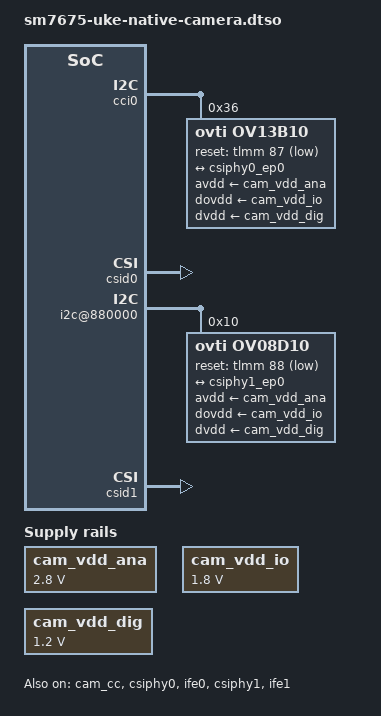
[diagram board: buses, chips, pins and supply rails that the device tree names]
// SPDX-License-Identifier: GPL-2.0-only OR BSD-2-Clause
/dts-v1/;
/plugin/;
#include <dt-bindings/clock/qcom,gcc-cliffs.h>
#include <dt-bindings/clock/qcom,sm7675-camcc.h>
#include <dt-bindings/gpio/gpio.h>

/* Native camera sensor graph for Xiaomi Pad 7 (uke, SM7675).
 * Rear: OV13B10 on CSI0 (CCI0, CSIPHY0, CSID0, IFE0)
 * Front: OV08D10 on QUP1 SE8 I2C (separate I2C bus, not CCI)
 *
 * Firmware and calibration remain private. Physical capture validation required.
 */

/ {
    /* Enable CAMCC controller */
    fragment@500 {
        target = <&cam_cc>;
        __overlay__ {
            status = "okay";
        };
    };

    /* Enable CCI0 for rear camera */
    fragment@501 {
        target = <&cci0>;
        __overlay__ {
            status = "okay";
            clocks = <&cam_cc CAM_CC_CCI_0_CLK>,
                     <&cam_cc CAM_CC_CCI_0_CLK_SRC>;
            clock-names = "cci", "cci_src";
        };
    };

    /* Enable CSIPHY0 for rear camera */
    fragment@502 {
        target = <&csiphy0>;
        __overlay__ {
            status = "okay";
            clocks = <&cam_cc CAM_CC_CSIPHY0_CLK>;
            clock-names = "csiphy";
        };
    };

    /* CSIPHY0 endpoint for rear camera */
    fragment@503 {
        target = <&csiphy0>;
        __overlay__ {
            #address-cells = <1>;
            #size-cells = <0>;
            port@0 {
                csiphy0_ep0: endpoint {
                    remote-endpoint = <&ov13b10_ep>;
                    data-lanes = <1 2 3 4>;
                    link-frequencies = /bits/ 64 <560000000>;
                };
            };
        };
    };

    /* Enable CSID0 for rear camera */
    fragment@504 {
        target = <&csid0>;
        __overlay__ {
            status = "okay";
            clocks = <&cam_cc CAM_CC_CSID_CLK>, <&cam_cc CAM_CC_CPHY_RX_CLK_SRC>;
            clock-names = "csid", "csiphy_rx";
        };
    };

    /* Enable IFE0 for rear camera (OEM: ife0@ac62000) */
    fragment@505 {
        target = <&ife0>;
        __overlay__ {
            status = "okay";
            clocks = <&gcc GCC_CAM_AXI_HF_CLK>, <&cam_cc CAM_CC_CPAS_AHB_CLK>,
                     <&cam_cc CAM_CC_CPAS_FAST_AHB_CLK>, <&cam_cc CAM_CC_CAMNOC_AXI_RT_CLK>,
                     <&cam_cc CAM_CC_CPAS_IFE_0_CLK>, <&cam_cc CAM_CC_CPAS_IFE0_CLK>,
                     <&cam_cc CAM_CC_QDSS_DEBUG_CLK>;
            clock-names = "gcc_axi_hf", "cpas_ahb", "cpas_fast_ahb",
                          "camnoc_axi", "ife0_fast_ahb", "ife0", "qdss_debug_xo";
        };
    };

    /* Rear camera sensor: OV13B10 on CCI0 */
    fragment@506 {
        target = <&cci0>;
        __overlay__ {
            #address-cells = <1>;
            #size-cells = <0>;
            ov13b10@36 {
                compatible = "ovti,ov13b10";
                reg = <0x36>;
                clocks = <&cam_cc CAM_CC_MCLK0_CLK>;
                clock-names = "xclk";
                avdd-supply = <&cam_vdd_ana>;
                dovdd-supply = <&cam_vdd_io>;
                dvdd-supply = <&cam_vdd_dig>;
                reset-gpios = <&tlmm 87 GPIO_ACTIVE_LOW>;
                port {
                    ov13b10_ep: endpoint {
                        remote-endpoint = <&csiphy0_ep0>;
                        data-lanes = <1 2 3 4>;
                        link-frequencies = /bits/ 64 <560000000>;
                    };
                };
            };
        };
    };

    /* Front camera EEPROM on QUP1 SE8 (already prepared by uke-front-eeprom-dt.h) */
    fragment@507 {
        target-path = "/soc/qcom,qupv3_1_geni_se@8c0000/i2c@880000";
        __overlay__ {
            #address-cells = <1>;
            #size-cells = <0>;
            ov08d10@10 {
                compatible = "ovti,ov08d10";
                reg = <0x10>;
                clocks = <&cam_cc CAM_CC_MCLK1_CLK>;
                clock-names = "xclk";
                avdd-supply = <&cam_vdd_ana>;
                dovdd-supply = <&cam_vdd_io>;
                dvdd-supply = <&cam_vdd_dig>;
                reset-gpios = <&tlmm 88 GPIO_ACTIVE_LOW>;
                port {
                    ov08d10_ep: endpoint {
                        remote-endpoint = <&csiphy1_ep0>;
                        data-lanes = <1 2>;
                        link-frequencies = /bits/ 64 <360000000>;
                    };
                };
            };
        };
    };

    /* Enable CSIPHY1 for front camera */
    fragment@508 {
        target = <&csiphy1>;
        __overlay__ {
            status = "okay";
            clocks = <&cam_cc CAM_CC_CSIPHY1_CLK>;
            clock-names = "csiphy";
        };
    };

    /* CSIPHY1 endpoint for front camera */
    fragment@509 {
        target = <&csiphy1>;
        __overlay__ {
            #address-cells = <1>;
            #size-cells = <0>;
            port@0 {
                csiphy1_ep0: endpoint {
                    remote-endpoint = <&ov08d10_ep>;
                    data-lanes = <1 2>;
                    link-frequencies = /bits/ 64 <360000000>;
                };
            };
        };
    };

    /* Enable CSID1 for front camera */
    fragment@510 {
        target = <&csid1>;
        __overlay__ {
            status = "okay";
            clocks = <&cam_cc CAM_CC_CSID_CLK>, <&cam_cc CAM_CC_CPHY_RX_CLK_SRC>;
            clock-names = "csid", "csiphy_rx";
        };
    };

    /* Enable IFE1 for front camera (OEM: ife1@ac71000) */
    fragment@511 {
        target = <&ife1>;
        __overlay__ {
            status = "okay";
            clocks = <&gcc GCC_CAM_AXI_HF_CLK>, <&cam_cc CAM_CC_CPAS_AHB_CLK>,
                     <&cam_cc CAM_CC_CPAS_FAST_AHB_CLK>, <&cam_cc CAM_CC_CAMNOC_AXI_RT_CLK>,
                     <&cam_cc CAM_CC_CPAS_IFE_1_CLK>, <&cam_cc CAM_CC_CPAS_IFE1_CLK>,
                     <&cam_cc CAM_CC_QDSS_DEBUG_CLK>;
            clock-names = "gcc_axi_hf", "cpas_ahb", "cpas_fast_ahb",
                          "camnoc_axi", "ife1_fast_ahb", "ife1", "qdss_debug_xo";
        };
    };

    /* Camera power supplies - to be provided by board-specific regulators */
    fragment@512 {
        target = <&spc>;
        __overlay__ {
            cam_vdd_ana: cam_vdd_ana {
                compatible = "regulator-fixed";
                regulator-name = "cam_vdd_ana";
                regulator-min-microvolt = <2800000>;
                regulator-max-microvolt = <2800000>;
                regulator-always-on;
            };
            cam_vdd_io: cam_vdd_io {
                compatible = "regulator-fixed";
                regulator-name = "cam_vdd_io";
                regulator-min-microvolt = <1800000>;
                regulator-max-microvolt = <1800000>;
                regulator-always-on;
            };
            cam_vdd_dig: cam_vdd_dig {
                compatible = "regulator-fixed";
                regulator-name = "cam_vdd_dig";
                regulator-min-microvolt = <1200000>;
                regulator-max-microvolt = <1200000>;
                regulator-always-on;
            };
        };
    };

    /* Disable OEM camera nodes that conflict with native driver.
     * Keep IFE0, IFE1, CSID0, CSID1, CSIPHY0, CSIPHY1 enabled (used above).
     * Disable unused: IFE2, CSID2, CSIPHY2/3/4, CCI1, CCI0 legacy, etc.
     */
    fragment@513 {
        target = <&ipe0>;
        __overlay__ { status = "disabled"; };
    };
    fragment@514 {
        target = <&ife2>;
        __overlay__ { status = "disabled"; };
    };
    fragment@515 {
        target = <&csid1_legacy>;
        __overlay__ { status = "disabled"; };
    };
    fragment@516 {
        target = <&csiphy4>;
        __overlay__ { status = "disabled"; };
    };
    fragment@517 {
        target = <&cre>;
        __overlay__ { status = "disabled"; };
    };
    fragment@518 {
        target = <&jpegenc0>;
        __overlay__ { status = "disabled"; };
    };
    fragment@519 {
        target = <&csiphy3>;
        __overlay__ { status = "disabled"; };
    };
    fragment@520 {
        target = <&rt_cdm3>;
        __overlay__ { status = "disabled"; };
    };
    fragment@521 {
        target = <&csid0_legacy>;
        __overlay__ { status = "disabled"; };
    };
    fragment@522 {
        target = <&csiphy2>;
        __overlay__ { status = "disabled"; };
    };
    fragment@523 {
        target = <&rt_cdm4>;
        __overlay__ { status = "disabled"; };
    };
    fragment@524 {
        target = <&bps>;
        __overlay__ { status = "disabled"; };
    };
    fragment@525 {
        target = <&icp>;
        __overlay__ { status = "disabled"; };
    };
    fragment@526 {
        target = <&rt_cdm0>;
        __overlay__ { status = "disabled"; };
    };
    fragment@527 {
        target = <&cpas>;
        __overlay__ { status = "disabled"; };
    };
    fragment@528 {
        target = <&tpg13>;
        __overlay__ { status = "disabled"; };
    };
    fragment@529 {
        target = <&cci0_legacy>;
        __overlay__ { status = "disabled"; };
    };
    fragment@530 {
        target = <&rt_cdm1>;
        __overlay__ { status = "disabled"; };
    };
    fragment@531 {
        target = <&csiphy1_legacy>;
        __overlay__ { status = "disabled"; };
    };
    fragment@532 {
        target = <&csid_lite1>;
        __overlay__ { status = "disabled"; };
    };
    fragment@533 {
        target = <&sfe1>;
        __overlay__ { status = "disabled"; };
    };
    fragment@534 {
        target = <&crm>;
        __overlay__ { status = "disabled"; };
    };
    fragment@535 {
        target = <&ife_lite1>;
        __overlay__ { status = "disabled"; };
    };
    fragment@536 {
        target = <&tpg14>;
        __overlay__ { status = "disabled"; };
    };
    fragment@537 {
        target = <&csiphy0_legacy>;
        __overlay__ { status = "disabled"; };
    };
    fragment@538 {
        target = <&csid_lite0>;
        __overlay__ { status = "disabled"; };
    };
    fragment@539 {
        target = <&ife_lite0>;
        __overlay__ { status = "disabled"; };
    };
    fragment@540 {
        target = <&cci1>;
        __overlay__ { status = "disabled"; };
    };
    fragment@541 {
        target = <&rt_cdm2>;
        __overlay__ { status = "disabled"; };
    };
    fragment@542 {
        target = <&sfe0>;
        __overlay__ { status = "disabled"; };
    };
    fragment@543 {
        target = <&tpg15>;
        __overlay__ { status = "disabled"; };
    };
    fragment@544 {
        target = <&csid2>;
        __overlay__ { status = "disabled"; };
    };
};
